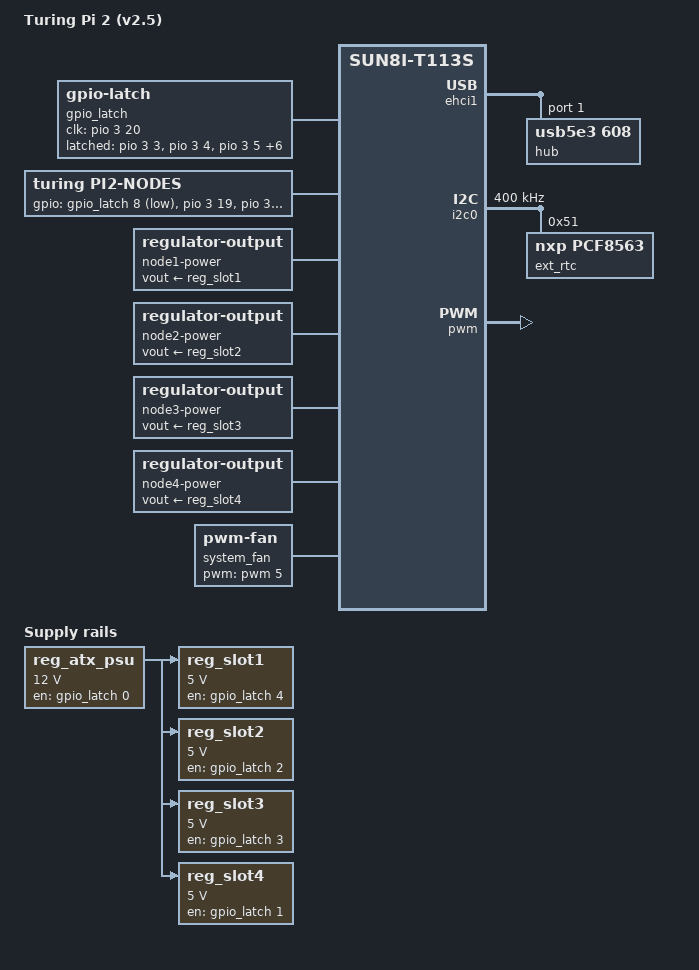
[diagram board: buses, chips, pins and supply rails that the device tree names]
// SPDX-License-Identifier: GPL-2.0+
// Copyright (C) 2024 Sam Edwards <CFSworks@gmail.com>

/dts-v1/;
#include "sun8i-t113s-turing-pi2.dtsi"

/ {
	model = "Turing Pi 2 (v2.5)";
	compatible = "turing,pi2", "allwinner,sun8i-t113s";

	aliases {
#ifndef IS_UBOOT
		rtc0 = &ext_rtc;
		rtc1 = &rtc;
#else
		rtc0 = &rtc;
#endif
	};

	chosen {
		stdout-path = "serial0:115200n8";
	};

	gpio_latch: gpio-latch {
		#gpio-cells = <2>;
		compatible = "gpio-latch";
		gpio-controller;
		setup-duration-ns = <5>;
		clock-duration-ns = <5>;

		clk-gpios = <&pio 3 20 GPIO_ACTIVE_HIGH>;	/* PD20 */
		latched-gpios = <&pio 3 3 GPIO_ACTIVE_HIGH>,	/* PD3 */
				<&pio 3 4 GPIO_ACTIVE_HIGH>,	/* PD4 */
				<&pio 3 5 GPIO_ACTIVE_HIGH>,	/* PD5 */
				<&pio 3 6 GPIO_ACTIVE_HIGH>,	/* PD6 */
				<&pio 3 7 GPIO_ACTIVE_HIGH>,	/* PD7 */
				<&pio 3 8 GPIO_ACTIVE_HIGH>,	/* PD8 */
				<&pio 3 9 GPIO_ACTIVE_HIGH>,	/* PD9 */
				<&pio 3 10 GPIO_ACTIVE_HIGH>,	/* PD10 */
				<&pio 3 11 GPIO_ACTIVE_HIGH>;	/* PD11 */
	};

	nodes {
		#gpio-cells = <2>;
		compatible = "turing,pi2-nodes";
		gpio-controller;

		gpios = <&gpio_latch 8 GPIO_ACTIVE_LOW>,	/* node 1 */
			<&pio 3 19 GPIO_ACTIVE_HIGH>,		/* PD19 */
			<&pio 3 15 GPIO_ACTIVE_LOW>,		/* PD15 */
			<&gpio_latch 7 GPIO_ACTIVE_LOW>,	/* node 2 */
			<&pio 3 14 GPIO_ACTIVE_LOW>,		/* PD14 */
			<&gpio_latch 6 GPIO_ACTIVE_LOW>,	/* node 3 */
			<&pio 3 12 GPIO_ACTIVE_LOW>,		/* PD12 */
			<&gpio_latch 5 GPIO_ACTIVE_LOW>,	/* node 4 */
			<&pio 3 13 GPIO_ACTIVE_LOW>;		/* PD13 */

		gpio-line-names = "node1-en", "node1-usbotg-dev",
				  "node1-rpiboot",
				  "node2-en",
				  "node2-rpiboot",
				  "node3-en",
				  "node3-rpiboot",
				  "node4-en",
				  "node4-rpiboot";
	};

	reg_atx_psu: regulator-atx-psu {
		compatible = "regulator-fixed";

		regulator-name = "atx-psu";
		regulator-min-microvolt = <12000000>;
		regulator-max-microvolt = <12000000>;
		startup-delay-us = <250000>;

		gpio = <&gpio_latch 0 GPIO_ACTIVE_HIGH>;
		enable-active-high;
		perserve-boot-state;
	};

	reg_slot1: regulator-slot1 {
		compatible = "regulator-fixed";

		regulator-name = "slot1";
		regulator-min-microvolt = <5000000>;
		regulator-max-microvolt = <5000000>;
		startup-delay-us = <100000>;

		gpio = <&gpio_latch 4 GPIO_ACTIVE_HIGH>;
		enable-active-high;
		perserve-boot-state;

		vin-supply = <&reg_atx_psu>;
	};

	node1-power {
		compatible = "regulator-output";
		vout-supply = <&reg_slot1>;
	};

	reg_slot2: regulator-slot2 {
		compatible = "regulator-fixed";

		regulator-name = "slot2";
		regulator-min-microvolt = <5000000>;
		regulator-max-microvolt = <5000000>;
		startup-delay-us = <100000>;

		gpio = <&gpio_latch 2 GPIO_ACTIVE_HIGH>;
		enable-active-high;
		perserve-boot-state;

		vin-supply = <&reg_atx_psu>;
	};

	node2-power {
		compatible = "regulator-output";
		vout-supply = <&reg_slot2>;
	};

	reg_slot3: regulator-slot3 {
		compatible = "regulator-fixed";

		regulator-name = "slot3";
		regulator-min-microvolt = <5000000>;
		regulator-max-microvolt = <5000000>;
		startup-delay-us = <100000>;

		gpio = <&gpio_latch 3 GPIO_ACTIVE_HIGH>;
		enable-active-high;
		perserve-boot-state;

		vin-supply = <&reg_atx_psu>;
	};

	node3-power {
		compatible = "regulator-output";
		vout-supply = <&reg_slot3>;
	};

	reg_slot4: regulator-slot4 {
		compatible = "regulator-fixed";

		regulator-name = "slot4";
		regulator-min-microvolt = <5000000>;
		regulator-max-microvolt = <5000000>;
		startup-delay-us = <100000>;

		gpio = <&gpio_latch 1 GPIO_ACTIVE_HIGH>;
		enable-active-high;
		perserve-boot-state;

		vin-supply = <&reg_atx_psu>;
	};

	node4-power {
		compatible = "regulator-output";
		vout-supply = <&reg_slot4>;
	};

#ifndef IS_UBOOT
	system_fan {
		compatible = "pwm-fan";
		pinctrl-names = "default";
		pinctrl-0 = <&pwm5_pd_pin>;
		pwms = <&pwm 5 50000 0>;
		#cooling-cells = <2>;
		cooling-levels = <0 16 32 64 102 170 254>;
	};
#endif
};

&ehci1 {
	#address-cells = <1>;
	#size-cells = <0>;

	hub@1 {
		compatible = "usb5e3,608";
		reg = <1>;
		#address-cells = <1>;
		#size-cells = <0>;

		node1@1 {
			reg = <1>;
		};
		node2@2 {
			reg = <2>;
		};
		node3@3 {
			reg = <3>;
		};
		node4@4 {
			reg = <4>;
		};
	};
};

#ifndef IS_UBOOT
&i2c0 {
	status = "okay";

	pinctrl-names = "default";
	pinctrl-0 = <&i2c0_pg_pins>;

	clock-frequency = <400000>;

	ext_rtc: rtc@51 {
		compatible = "nxp,pcf8563";
		reg = <0x51>;
		#clock-cells = <0>;
	};
};

&pwm {
	status = "okay";
};
#endif

&flash0 {
    partitions {
        partition@100000 {
            reg = <0x00100000 0x0FF00000>;
        };
    };
};
